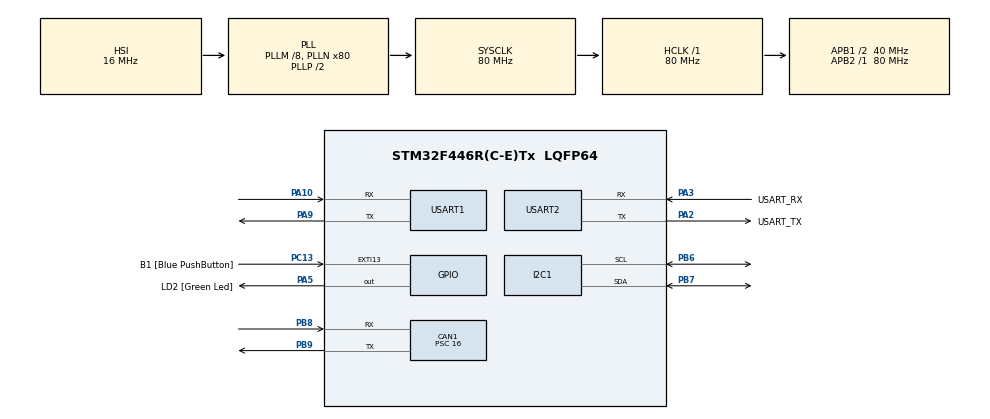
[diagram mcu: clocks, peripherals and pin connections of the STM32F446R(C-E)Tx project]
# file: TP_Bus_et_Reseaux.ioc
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CAN1.BS1=CAN_BS1_2TQ
CAN1.BS2=CAN_BS2_2TQ
CAN1.CalculateBaudRate=500000
CAN1.CalculateTimeBit=2000
CAN1.CalculateTimeQuantum=400.0
CAN1.Prescaler=16
Mcu.Family=STM32F4
Mcu.Name=STM32F446R(C-E)Tx
Mcu.Package=LQFP64
NVIC.PriorityGroup=NVIC_PRIORITYGROUP_0
NVIC.USART1_IRQn=true\:0\:0\:false\:false\:true\:true\:true\:true
PA10.Mode=Asynchronous
PA10.Signal=USART1_RX
PA13.GPIO_Label=TMS
PA13.Mode=Serial_Wire
PA13.Signal=SYS_JTMS-SWDIO
PA14.GPIO_Label=TCK
PA14.Mode=Serial_Wire
PA14.Signal=SYS_JTCK-SWCLK
PA2.GPIO_Label=USART_TX
PA2.Mode=Asynchronous
PA2.Signal=USART2_TX
PA3.GPIO_Label=USART_RX
PA3.Mode=Asynchronous
PA3.Signal=USART2_RX
PA5.GPIO_Label=LD2 [Green Led]
PA5.Signal=GPIO_Output
PA9.Mode=Asynchronous
PA9.Signal=USART1_TX
PB3.GPIO_Label=SWO
PB3.Signal=SYS_JTDO-SWO
PB6.Mode=I2C
PB6.Signal=I2C1_SCL
PB7.Mode=I2C
PB7.Signal=I2C1_SDA
PB8.Mode=CAN_Activate
PB8.Signal=CAN1_RX
PB9.Mode=CAN_Activate
PB9.Signal=CAN1_TX
PC13.GPIO_Label=B1 [Blue PushButton]
PC13.GPIO_ModeDefaultEXTI=GPIO_MODE_IT_FALLING
PC13.Signal=GPXTI13
PC14-OSC32_IN.Mode=LSE-External-Oscillator
PC14-OSC32_IN.Signal=RCC_OSC32_IN
PC15-OSC32_OUT.Mode=LSE-External-Oscillator
PC15-OSC32_OUT.Signal=RCC_OSC32_OUT
PH0-OSC_IN.Mode=HSE-External-Oscillator
PH0-OSC_IN.Signal=RCC_OSC_IN
PH1-OSC_OUT.Mode=HSE-External-Oscillator
PH1-OSC_OUT.Signal=RCC_OSC_OUT
ProjectManager.HeapSize=0x200
ProjectManager.StackSize=0x400
ProjectManager.TargetToolchain=STM32CubeIDE
RCC.48MHZClocksFreq_Value=84000000
RCC.AHBFreq_Value=80000000
RCC.APB1CLKDivider=RCC_HCLK_DIV2
RCC.APB1Freq_Value=40000000
RCC.APB1TimFreq_Value=80000000
RCC.APB2Freq_Value=80000000
RCC.APB2TimFreq_Value=80000000
RCC.CortexFreq_Value=80000000
RCC.FLatency-AdvancedSettings=FLASH_LATENCY_2
RCC.HCLKFreq_Value=80000000
RCC.HSE_VALUE=8000000
RCC.HSI_VALUE=16000000
RCC.PLLM=8
RCC.PLLN=80
RCC.SYSCLKFreq_VALUE=80000000
RCC.SYSCLKSource=RCC_SYSCLKSOURCE_PLLCLK
RCC.USBFreq_Value=80000000
RCC.VCOOutputFreq_Value=160000000
USART1.VirtualMode=VM_ASYNC
USART2.VirtualMode=VM_ASYNC
board=NUCLEO-F446RE

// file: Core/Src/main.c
/* USER CODE BEGIN Header */
/**
 ******************************************************************************
 * @file           : main.c
 * @brief          : Main program body
 ******************************************************************************
 * @attention
 *
 * Copyright (c) 2023 STMicroelectronics.
 * All rights reserved.
 *
 * This software is licensed under terms that can be found in the LICENSE file
 * in the root directory of this software component.
 * If no LICENSE file comes with this software, it is provided AS-IS.
 *
 ******************************************************************************
 */
/* USER CODE END Header */
#include "main.h"

/* USER CODE BEGIN Includes */
#include <stdio.h>
#include <stdlib.h>
#include <string.h>
/* USER CODE END Includes */

/* USER CODE BEGIN PD */
#define REGISTER_ADDRESS_SIZE 1
/* USER CODE END PD */

CAN_HandleTypeDef hcan1;

I2C_HandleTypeDef hi2c1;

UART_HandleTypeDef huart1;
UART_HandleTypeDef huart2;

/* USER CODE BEGIN PV */
extern uint8_t uartRxReceived;
extern uint8_t short_uartRxBuffer[SHORT_UART_RX_BUFFER_SIZE];
/* USER CODE END PV */

void SystemClock_Config(void);
static void MX_GPIO_Init(void);
static void MX_USART2_UART_Init(void);
static void MX_I2C1_Init(void);
static void MX_CAN1_Init(void);
static void MX_USART1_UART_Init(void);

extern float final_T;
extern uint32_t final_P;

/* USER CODE BEGIN 0 */

CAN_TxHeaderTypeDef automatic_mode_test = { .StdId = 0x61, // given in the moodle document
		.ExtId = 0x0,  // extended ID : not used here
		.IDE = CAN_ID_STD, // by default because not CAN_ID_EXT (extended frame)
		.RTR = CAN_RTR_DATA, // by default because not CAN_RTR_REMOTE
		.DLC = 0x2, // 2 bytes are transmitted
		.TransmitGlobalTime = DISABLE // we do not measure the response times of the bus
		};

uint8_t test_frame_forward[MAX_FRAME_SIZE]; // used to run the stepper motor
uint8_t test_frame_reverse[MAX_FRAME_SIZE];
CAN_TxHeaderTypeDef reset = { // we never use this structure in the code but its purpose is to set the angle to 0
		.StdId = 0x62, .ExtId = 0x0, .IDE = CAN_ID_STD, .RTR = CAN_RTR_DATA,
				.DLC = 0x0, .TransmitGlobalTime = DISABLE };
uint8_t *reset_frame = NULL;
uint32_t test_mail_box;

/* USER CODE END 0 */

int main(void) {
	/* USER CODE BEGIN 1 */
	test_frame_forward[0] = 0x54; // 90 degreees angles
	test_frame_forward[1] = 0x00; // in the forward direction
	test_frame_reverse[0] = 0x54;
	test_frame_reverse[1] = 0x01;

	/* USER CODE END 1 */

	/* MCU Configuration--------------------------------------------------------*/

	/* Reset of all peripherals, Initializes the Flash interface and the Systick. */
	HAL_Init();

	/* Configure the system clock */
	SystemClock_Config();

	/* Initialize all configured peripherals */
	MX_GPIO_Init();
	MX_USART2_UART_Init();
	MX_I2C1_Init();
	MX_CAN1_Init();
	MX_USART1_UART_Init();
	/* USER CODE BEGIN 2 */

	if (HAL_CAN_Start(&hcan1) != HAL_OK)
		Error_Handler();

	HAL_UART_Receive_IT(&huart1, short_uartRxBuffer, SHORT_UART_RX_BUFFER_SIZE); // authorizes interruptions from the serial port
	// which is used to retrieve the orders from the Raspberry (please see the explanation of the interface_stm32_raspberrypi()
	// function.

	BMP280_check();
	BMP280_init();

	/* USER CODE END 2 */

	/* Infinite loop */
	/* USER CODE BEGIN WHILE */
	while (1) {
		interface_stm32_raspberrypi();
	}
	/* USER CODE END WHILE */

}

void SystemClock_Config(void) {
	RCC_OscInitTypeDef RCC_OscInitStruct = { 0 };
	RCC_ClkInitTypeDef RCC_ClkInitStruct = { 0 };

	/** Configure the main internal regulator output voltage
	 */
	__HAL_RCC_PWR_CLK_ENABLE();
	__HAL_PWR_VOLTAGESCALING_CONFIG(PWR_REGULATOR_VOLTAGE_SCALE3);

	/** Initializes the RCC Oscillators according to the specified parameters
	 * in the RCC_OscInitTypeDef structure.
	 */
	RCC_OscInitStruct.OscillatorType = RCC_OSCILLATORTYPE_HSI;
	RCC_OscInitStruct.HSIState = RCC_HSI_ON;
	RCC_OscInitStruct.HSICalibrationValue = RCC_HSICALIBRATION_DEFAULT;
	RCC_OscInitStruct.PLL.PLLState = RCC_PLL_ON;
	RCC_OscInitStruct.PLL.PLLSource = RCC_PLLSOURCE_HSI;
	RCC_OscInitStruct.PLL.PLLM = 8;
	RCC_OscInitStruct.PLL.PLLN = 80;
	RCC_OscInitStruct.PLL.PLLP = RCC_PLLP_DIV2;
	RCC_OscInitStruct.PLL.PLLQ = 2;
	RCC_OscInitStruct.PLL.PLLR = 2;
	if (HAL_RCC_OscConfig(&RCC_OscInitStruct) != HAL_OK) {
		Error_Handler();
	}

	/** Initializes the CPU, AHB and APB buses clocks
	 */
	RCC_ClkInitStruct.ClockType = RCC_CLOCKTYPE_HCLK | RCC_CLOCKTYPE_SYSCLK
			| RCC_CLOCKTYPE_PCLK1 | RCC_CLOCKTYPE_PCLK2;
	RCC_ClkInitStruct.SYSCLKSource = RCC_SYSCLKSOURCE_PLLCLK;
	RCC_ClkInitStruct.AHBCLKDivider = RCC_SYSCLK_DIV1;
	RCC_ClkInitStruct.APB1CLKDivider = RCC_HCLK_DIV2;
	RCC_ClkInitStruct.APB2CLKDivider = RCC_HCLK_DIV1;

	if (HAL_RCC_ClockConfig(&RCC_ClkInitStruct, FLASH_LATENCY_2) != HAL_OK) {
		Error_Handler();
	}
}

static void MX_CAN1_Init(void) {

	hcan1.Instance = CAN1;
	hcan1.Init.Prescaler = 16;
	hcan1.Init.Mode = CAN_MODE_NORMAL;
	hcan1.Init.SyncJumpWidth = CAN_SJW_1TQ;
	hcan1.Init.TimeSeg1 = CAN_BS1_2TQ;
	hcan1.Init.TimeSeg2 = CAN_BS2_2TQ;
	hcan1.Init.TimeTriggeredMode = DISABLE;
	hcan1.Init.AutoBusOff = DISABLE;
	hcan1.Init.AutoWakeUp = DISABLE;
	hcan1.Init.AutoRetransmission = DISABLE;
	hcan1.Init.ReceiveFifoLocked = DISABLE;
	hcan1.Init.TransmitFifoPriority = DISABLE;
	if (HAL_CAN_Init(&hcan1) != HAL_OK) {
		Error_Handler();
	}

}

static void MX_I2C1_Init(void) {

	hi2c1.Instance = I2C1;
	hi2c1.Init.ClockSpeed = 100000;
	hi2c1.Init.DutyCycle = I2C_DUTYCYCLE_2;
	hi2c1.Init.OwnAddress1 = 0;
	hi2c1.Init.AddressingMode = I2C_ADDRESSINGMODE_7BIT;
	hi2c1.Init.DualAddressMode = I2C_DUALADDRESS_DISABLE;
	hi2c1.Init.OwnAddress2 = 0;
	hi2c1.Init.GeneralCallMode = I2C_GENERALCALL_DISABLE;
	hi2c1.Init.NoStretchMode = I2C_NOSTRETCH_DISABLE;
	if (HAL_I2C_Init(&hi2c1) != HAL_OK) {
		Error_Handler();
	}

}

static void MX_USART1_UART_Init(void) {

	huart1.Instance = USART1;
	huart1.Init.BaudRate = 115200;
	huart1.Init.WordLength = UART_WORDLENGTH_8B;
	huart1.Init.StopBits = UART_STOPBITS_1;
	huart1.Init.Parity = UART_PARITY_NONE;
	huart1.Init.Mode = UART_MODE_TX_RX;
	huart1.Init.HwFlowCtl = UART_HWCONTROL_NONE;
	huart1.Init.OverSampling = UART_OVERSAMPLING_16;
	if (HAL_UART_Init(&huart1) != HAL_OK) {
		Error_Handler();
	}

}

static void MX_USART2_UART_Init(void) {

	huart2.Instance = USART2;
	huart2.Init.BaudRate = 115200;
	huart2.Init.WordLength = UART_WORDLENGTH_8B;
	huart2.Init.StopBits = UART_STOPBITS_1;
	huart2.Init.Parity = UART_PARITY_NONE;
	huart2.Init.Mode = UART_MODE_TX_RX;
	huart2.Init.HwFlowCtl = UART_HWCONTROL_NONE;
	huart2.Init.OverSampling = UART_OVERSAMPLING_16;
	if (HAL_UART_Init(&huart2) != HAL_OK) {
		Error_Handler();
	}

}

static void MX_GPIO_Init(void) {
	GPIO_InitTypeDef GPIO_InitStruct = { 0 };

	/* GPIO Ports Clock Enable */
	__HAL_RCC_GPIOC_CLK_ENABLE();
	__HAL_RCC_GPIOH_CLK_ENABLE();
	__HAL_RCC_GPIOA_CLK_ENABLE();
	__HAL_RCC_GPIOB_CLK_ENABLE();

	/*Configure GPIO pin Output Level */
	HAL_GPIO_WritePin(LD2_GPIO_Port, LD2_Pin, GPIO_PIN_RESET);

	/*Configure GPIO pin : B1_Pin */
	GPIO_InitStruct.Pin = B1_Pin;
	GPIO_InitStruct.Mode = GPIO_MODE_IT_FALLING;
	GPIO_InitStruct.Pull = GPIO_NOPULL;
	HAL_GPIO_Init(B1_GPIO_Port, &GPIO_InitStruct);

	/*Configure GPIO pin : LD2_Pin */
	GPIO_InitStruct.Pin = LD2_Pin;
	GPIO_InitStruct.Mode = GPIO_MODE_OUTPUT_PP;
	GPIO_InitStruct.Pull = GPIO_NOPULL;
	GPIO_InitStruct.Speed = GPIO_SPEED_FREQ_LOW;
	HAL_GPIO_Init(LD2_GPIO_Port, &GPIO_InitStruct);

}

/* USER CODE BEGIN 4 */
int act_on_radiator(void) {
	if (final_T > 22) { // let's close the hot water arrival
		if (HAL_CAN_AddTxMessage(&hcan1, &automatic_mode_test,
				test_frame_forward, &test_mail_box) != HAL_OK) {
			Error_Handler();
			return -1;
		}
	}
	if (final_T < 16) { // let's open the hot water arrival
		if (HAL_CAN_AddTxMessage(&hcan1, &automatic_mode_test,
				test_frame_reverse, &test_mail_box) != HAL_OK) {
			Error_Handler();
			return -1;
		}
	}
	return 0;
}
	/* USER CODE END 4 */

	/**
	 * @brief  This function is executed in case of error occurrence.
	 * @retval None
	 */
	void Error_Handler(void) {
		__disable_irq();
		while (1) {
		}
	}
